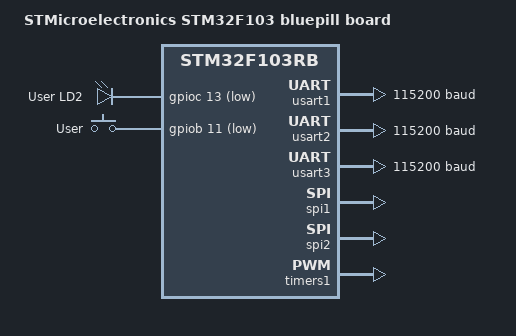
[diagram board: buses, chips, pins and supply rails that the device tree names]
/*
 * Copyright (c) 2017 Linaro Limited
 *
 * SPDX-License-Identifier: Apache-2.0
 */

/dts-v1/;
#include <st/stm32f103Xb.dtsi>

/ {
	model = "STMicroelectronics STM32F103 bluepill board";
	compatible = "st,bluepill", "st,stm32f103rb";

	chosen {
		zephyr,console = &usart2;
		zephyr,sram = &sram0;
		zephyr,flash = &flash0;
	};

	leds {
		compatible = "gpio-leds";
		blue_led: led@0 {
			gpios = <&gpioc 13 GPIO_INT_ACTIVE_LOW>;
			label = "User LD2";
		};
	};

	gpio_keys {
		compatible = "gpio-keys";
		user_button: button@0 {
			label = "User";
			gpios = <&gpiob 11 GPIO_INT_ACTIVE_LOW>;
		};
	};

	aliases {
		led0 = &blue_led;
		sw0 = &user_button;
	};
};

&usart1 {
	current-speed = <115200>;
	pinctrl-0 = <&usart1_pins_a>;
	pinctrl-names = "default";
};

&usart2 {
	current-speed = <115200>;
	pinctrl-0 = <&usart2_pins_a>;
	pinctrl-names = "default";
	status = "ok";
};

&usart3 {
	current-speed = <115200>;
	pinctrl-0 = <&usart3_pins_a>;
	pinctrl-names = "default";
};

&spi1 {
      status = "ok";
};

&spi2 {
      status = "ok";
};

&timers1 {
	status = "ok";

	pwm {
		status = "ok";
	};
};
